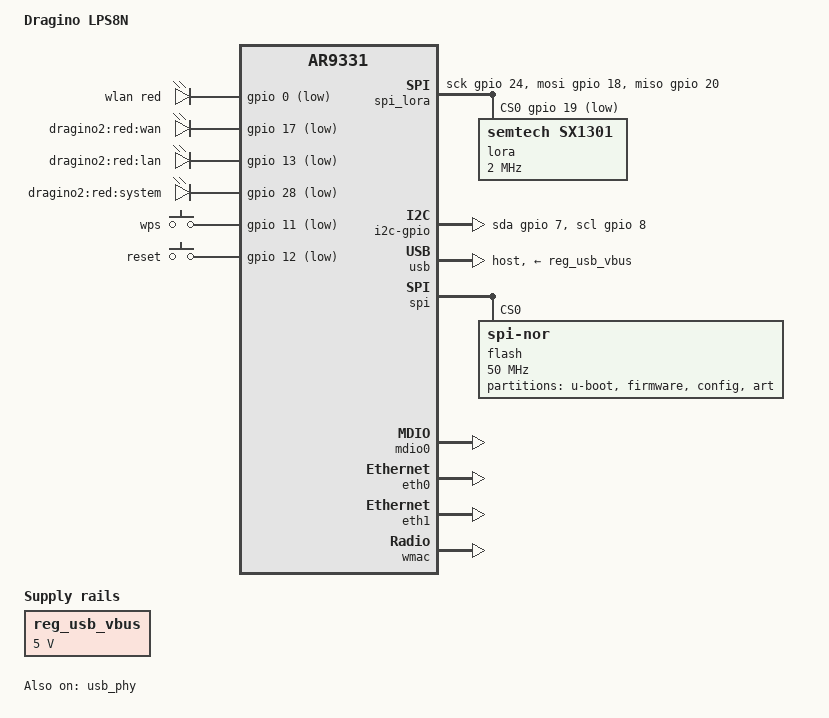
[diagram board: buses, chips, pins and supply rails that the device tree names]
// SPDX-License-Identifier: GPL-2.0-or-later OR MIT
/*
 * Dragino LPS8N: Atheros AR9331, 16MB SPI NOR, 64MB RAM, one Dragino PG1302
 * (SX1302 + SX1250) on bit-banged SPI.
 *
 * From the device tree ChirpStack Gateway OS carries for the LPS8N
 * (conf/dragino_lps8n/patches/add_dragino_lps8n_device.patch, GPL-2.0-or-later
 * OR MIT, as this file is), against OpenWrt 25.12. Changed here:
 *
 *   - the concentrator's SPI device is "semtech,sx1301", which spidev binds
 *     by name, so no kernel patch is needed to load it from the device tree;
 *   - formatting, to OpenWrt's.
 *
 * The concentrator's reset is GPIO 23, driven by concentratord (its default
 * for a PG1302, which ChirpStack's LPS8N configuration relies on), so it is
 * not hogged here.
 */

#include "ar9331.dtsi"

#include <dt-bindings/gpio/gpio.h>
#include <dt-bindings/input/input.h>
#include <dt-bindings/leds/common.h>

/ {
	model = "Dragino LPS8N";
	compatible = "dragino,lps8n", "qca,ar9331";

	aliases {
		label-mac-device = &wmac;
		/* The concentrator is /dev/spidev1.0: spi0 is the flash. */
		spi1 = &spi_lora;
	};

	leds {
		compatible = "gpio-leds";

		wlan {
			function = LED_FUNCTION_WLAN;
			color = <LED_COLOR_ID_RED>;
			gpios = <&gpio 0 GPIO_ACTIVE_LOW>;
			linux,default-trigger = "phy0tpt";
		};

		wan {
			label = "dragino2:red:wan";
			gpios = <&gpio 17 GPIO_ACTIVE_LOW>;
		};

		lan {
			label = "dragino2:red:lan";
			gpios = <&gpio 13 GPIO_ACTIVE_LOW>;
		};

		system {
			label = "dragino2:red:system";
			gpios = <&gpio 28 GPIO_ACTIVE_LOW>;
		};
	};

	keys {
		compatible = "gpio-keys";

		wps {
			label = "wps";
			linux,code = <KEY_WPS_BUTTON>;
			gpios = <&gpio 11 GPIO_ACTIVE_LOW>;
			debounce-interval = <60>;
		};

		reset {
			label = "reset";
			linux,code = <KEY_RESTART>;
			gpios = <&gpio 12 GPIO_ACTIVE_LOW>;
			debounce-interval = <60>;
		};
	};

	/* The PG1302: GPIO 18 MOSI, 20 MISO, 24 SCK, 19 chip select. */
	spi_lora: spi-gpio {
		compatible = "spi-gpio";
		#address-cells = <1>;
		#size-cells = <0>;

		sck-gpios = <&gpio 24 GPIO_ACTIVE_HIGH>;
		mosi-gpios = <&gpio 18 GPIO_ACTIVE_HIGH>;
		miso-gpios = <&gpio 20 GPIO_ACTIVE_HIGH>;
		cs-gpios = <&gpio 19 GPIO_ACTIVE_LOW>;

		lora@0 {
			compatible = "semtech,sx1301";
			reg = <0>;
			spi-max-frequency = <2000000>;
		};
	};

	/* The PG1302's temperature sensor: GPIO 7 SDA, 8 SCL. */
	i2c-gpio {
		compatible = "i2c-gpio";
		#address-cells = <1>;
		#size-cells = <0>;

		sda-gpios = <&gpio 7 GPIO_ACTIVE_HIGH>;
		scl-gpios = <&gpio 8 GPIO_ACTIVE_HIGH>;
		i2c-gpio,delay-us = <5>;
	};

	reg_usb_vbus: regulator-usb-vbus {
		compatible = "regulator-fixed";
		regulator-name = "usb_vbus";
		regulator-min-microvolt = <5000000>;
		regulator-max-microvolt = <5000000>;
		regulator-always-on;
	};
};

&ref {
	clock-frequency = <40000000>;
};

&usb {
	dr_mode = "host";
	vbus-supply = <&reg_usb_vbus>;
	status = "okay";
};

&usb_phy {
	reset-names = "phy", "usb-suspend-override";
	resets = <&rst 4>, <&rst 3>;
	status = "okay";
};

&spi {
	status = "okay";

	flash@0 {
		compatible = "jedec,spi-nor";
		spi-max-frequency = <50000000>;
		reg = <0>;

		partitions {
			compatible = "fixed-partitions";
			#address-cells = <1>;
			#size-cells = <1>;

			partition@0 {
				label = "u-boot";
				reg = <0x000000 0x040000>;
				read-only;
			};

			partition@40000 {
				compatible = "denx,uimage";
				label = "firmware";
				reg = <0x040000 0xfa0000>;
			};

			partition@fe0000 {
				label = "config";
				reg = <0xfe0000 0x010000>;
			};

			partition@ff0000 {
				label = "art";
				reg = <0xff0000 0x010000>;
				read-only;

				nvmem-layout {
					compatible = "fixed-layout";
					#address-cells = <1>;
					#size-cells = <1>;

					macaddr_art_0: macaddr@0 {
						reg = <0x0 0x6>;
					};

					macaddr_art_6: macaddr@6 {
						reg = <0x6 0x6>;
					};

					cal_art_1000: calibration@1000 {
						reg = <0x1000 0x440>;
					};
				};
			};
		};
	};
};

&mdio0 {
	status = "okay";
};

&eth0 {
	status = "okay";

	nvmem-cells = <&macaddr_art_0>;
	nvmem-cell-names = "mac-address";

	gmac-config {
		device = <&gmac>;
		switch-phy-addr-swap = <1>;
		switch-phy-swap = <1>;
	};
};

&eth1 {
	status = "okay";

	nvmem-cells = <&macaddr_art_6>;
	nvmem-cell-names = "mac-address";
};

&wmac {
	status = "okay";

	nvmem-cells = <&macaddr_art_6>, <&cal_art_1000>;
	nvmem-cell-names = "mac-address", "calibration";
};
